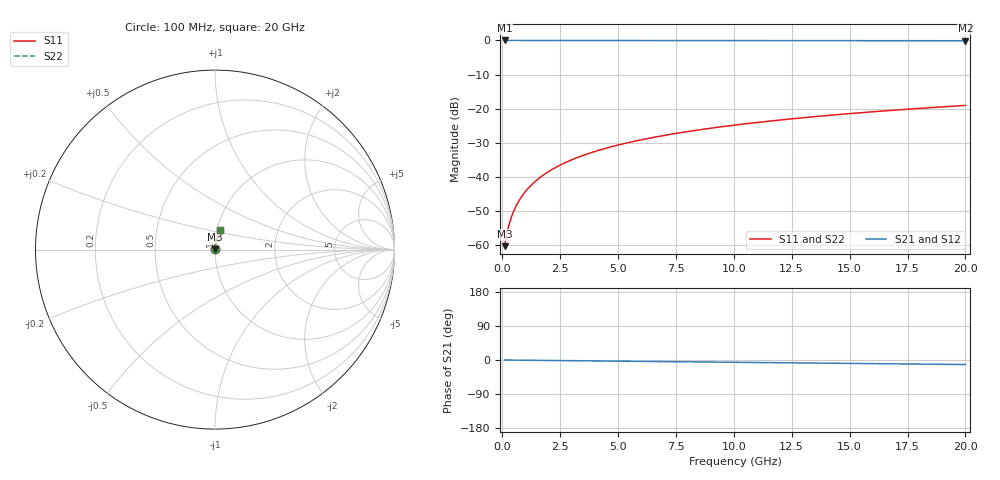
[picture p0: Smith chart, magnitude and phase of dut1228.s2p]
! Touchstone file exported from HFSS 2026.1.0
!  File:  C:/ffzhzh/LocalFiles/Ansys_Project_Files/temp_train_BSMRDL_1228_1783176915_22436.aedt
!  Generated:  10:56:31 PM Jul  4, 2026
!  Design:  BSMRDL
!  Project:  temp_train_BSMRDL_1228_1783176915_22436
! Variables:
!  h_bsmrdl = 5.15um
!  h_ox = 20um
!  h_rdl = 5um
!  h_sub = 80um
!  h_tmrdl = 5um
!  h_tsv = 80um
!  h_via = 3um
!  l_bsmrdl = 154.04um
!  l_sub = 554.04um
!  l_tmrdl = 200um
!  m_sub = 200um
!  pitch = 39.51um
!  r_tsv = 6um
!  s_tmrdl = 10um
!  w_bsmrdl = 18.55um
!  w_sub = 500um
!  w_tmrdl = 12um
!  x_tsv_center1 = 206um
!  x_tsv_center2 = 378.59um
!  x_tsv_center3 = 590.59um
!  x_tsv_center4 = 763.18um
!  x_tsv_center5 = 975.18um
!  x_tsv_center6 = 1147.77um
# GHz S MA R 50.000000
! Terminal data exported
! Port[1] = BSM_RDL1_1_T1
! Port[2] = BSM_RDL1_1_T2
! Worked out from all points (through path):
!   200 points, 100 MHz to 20 GHz, reference 50 ohm
!   highest |S21| = -0.01 dB at 100 MHz (marker M1); lowest = -0.1 dB at 20 GHz (marker M2)
!   group delay of S21, straight-line fit = 1.65 ps
!   lowest |S11| = -60.3 dB at 100 MHz (marker M3), VSWR 1.00, Z = 50.1 + j0.0653 ohm
!   |S11| at or under -10 dB: start of sweep to end of sweep
!   |S22| runs from -60.3 to -19.0 dB; largest |S21 - S12| = 3.5e-15
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0.1  0.0009656 42.5  0.9993 -0.1  0.9993 -0.1  0.0009656 42.5
! Gamma 0 0 0 0
! Port Impedance 50 0 50 0
0.2  0.001488 59.7  0.9993 -0.1  0.9993 -0.1  0.001488 59.7
0.3  0.002055 67.3  0.9992 -0.2  0.9992 -0.2  0.002055 67.3
0.4  0.002628 71.5  0.9992 -0.3  0.9992 -0.3  0.002628 71.5
0.5  0.003203 74.3  0.9991 -0.3  0.9991 -0.3  0.003203 74.3
0.6  0.003781 76.3  0.9991 -0.4  0.9991 -0.4  0.003781 76.3
0.8  0.004942 79.0  0.9991 -0.5  0.9991 -0.5  0.004942 79.0
1.1  0.006697 81.2  0.999 -0.7  0.999 -0.7  0.006697 81.2
1.5  0.009049 82.7  0.9989 -0.9  0.9989 -0.9  0.009049 82.7
1.8  0.01081 83.3  0.9989 -1.1  0.9989 -1.1  0.01081 83.3
2.1  0.01257 83.6  0.9988 -1.3  0.9988 -1.3  0.01257 83.6
2.7  0.01608 83.9  0.9986 -1.7  0.9986 -1.7  0.01608 83.9
3.5  0.02073 83.9  0.9984 -2.2  0.9984 -2.2  0.02073 83.9
4.2  0.02475 83.8  0.9981 -2.6  0.9981 -2.6  0.02475 83.8
5  0.02931 83.5  0.9978 -3.1  0.9978 -3.1  0.02931 83.5
5.9  0.0344 83.1  0.9975 -3.6  0.9975 -3.6  0.0344 83.1
6.8  0.03946 82.8  0.9971 -4.1  0.9971 -4.1  0.03946 82.8
8.3  0.04783 82.1  0.9964 -5.0  0.9964 -5.0  0.04783 82.1
10.1  0.0578 81.2  0.9956 -6.1  0.9956 -6.1  0.0578 81.2
13.4  0.07593 79.6  0.994 -8.1  0.994 -8.1  0.07593 79.6
16.7  0.09387 77.9  0.9921 -10.0  0.9921 -10.0  0.09387 77.9
20  0.1116 76.1  0.9899 -11.9  0.9899 -11.9  0.1116 76.1
